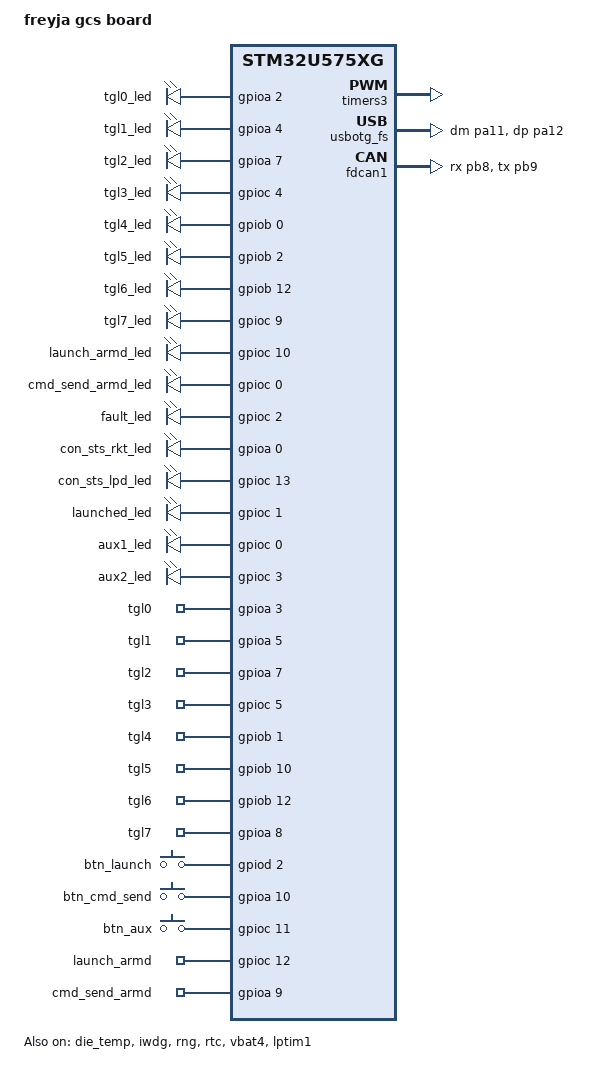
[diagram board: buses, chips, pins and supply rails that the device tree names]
/*
 * Copyright (c) 2021 Linaro Limited
 *
 * SPDX-License-Identifier: Apache-2.0
 */

/dts-v1/;
#include <st/u5/stm32u575Xg.dtsi>
#include <st/u5/stm32u575rgtx-pinctrl.dtsi>
#include <zephyr/dt-bindings/input/input-event-codes.h>

/ {
	model = "freyja gcs board";

	chosen {
		zephyr,sram = &sram0;
		zephyr,flash = &flash0;
		zephyr,canbus = &fdcan1;
        zephyr,console = &cdc_acm_uart1;
        zephyr,shell-uart = &cdc_acm_uart1;
	};

	leds: leds {
		compatible = "gpio-leds";

		tgl0_led: tgl0_led {
			gpios = <&gpioa 2 GPIO_ACTIVE_HIGH>;
		};
		tgl1_led: tgl1_led {
			gpios = <&gpioa 4 GPIO_ACTIVE_HIGH>;
		};
		tgl2_led: tgl2_led {
			gpios = <&gpioa 7 GPIO_ACTIVE_HIGH>;
		};
		tgl3_led: tgl3_led {
			gpios = <&gpioc 4 GPIO_ACTIVE_HIGH>;
		};
		tgl4_led: tgl4_led {
			gpios = <&gpiob 0 GPIO_ACTIVE_HIGH>;
		};
		tgl5_led: tgl5_led {
			gpios = <&gpiob 2 GPIO_ACTIVE_HIGH>;
		};
		tgl6_led: tgl6_led {
			gpios = <&gpiob 12 GPIO_ACTIVE_HIGH>;
		};
		tgl7_led: tgl7_led {
			gpios = <&gpioc 9 GPIO_ACTIVE_HIGH>;
		};

		launch_armd_led: launch_armd_led {
			gpios = <&gpioc 10 GPIO_ACTIVE_HIGH>;
		};
		cmd_send_armd_led: cmd_send_armd_led {
			gpios = <&gpioc 0 GPIO_ACTIVE_HIGH>;
		};
		fault_led: fault_led {
			gpios = <&gpioc 2 GPIO_ACTIVE_HIGH>;
		};
		con_sts_rkt_led: con_sts_rkt_led {
			gpios = <&gpioa 0 GPIO_ACTIVE_HIGH>;
		};
		con_sts_lpd_led: con_sts_lpd_led {
			gpios = <&gpioc 13 GPIO_ACTIVE_HIGH>;
		};
		launched_led: launched_led {
			gpios = <&gpioc 1 GPIO_ACTIVE_HIGH>;
		};
		aux1_led: aux1_led {
			gpios = <&gpioc 0 GPIO_ACTIVE_HIGH>;
		};
		aux2_led: aux2_led {
			gpios = <&gpioc 3 GPIO_ACTIVE_HIGH>;
		};
	};

	buttons: buttons {
		compatible = "gpio_keys";
		
		tgl0: tgl0 {
			gpios = <&gpioa 3 GPIO_ACTIVE_HIGH>;
		};
		tgl1: tgl1 {
			gpios = <&gpioa 5 GPIO_ACTIVE_HIGH>;
		};
		tgl2: tgl2 {
			gpios = <&gpioa 7 GPIO_ACTIVE_HIGH>;
		};
		tgl3: tgl3 {
			gpios = <&gpioc 5 GPIO_ACTIVE_HIGH>;
		};
		tgl4: tgl4 {
			gpios = <&gpiob 1 GPIO_ACTIVE_HIGH>;
		};
		tgl5: tgl5 {
			gpios = <&gpiob 10 GPIO_ACTIVE_HIGH>;
		};
		tgl6: tgl6 {
			gpios = <&gpiob 12 GPIO_ACTIVE_HIGH>;
		};
		tgl7: tgl7 {
			gpios = <&gpioa 8 GPIO_ACTIVE_HIGH>;
		};

		btn_launch: btn_launch {
			gpios = <&gpiod 2 GPIO_ACTIVE_HIGH>;
		};
		btn_cmd_send: btn_cmd_send {
			gpios = <&gpioa 10 GPIO_ACTIVE_HIGH>;
		};
		btn_aux: btn_aux {
			gpios = <&gpioc 11 GPIO_ACTIVE_HIGH>;
		};

		launch_armd: launch_armd {
			gpios = <&gpioc 12 GPIO_ACTIVE_HIGH>;
		};
		cmd_send_armd: cmd_send_armd {
			gpios = <&gpioa 9 GPIO_ACTIVE_HIGH>;
		};
	};
};

&die_temp {
	status = "okay";
};

&clk_hsi48 {
	status = "okay";
};

&clk_lse {
	status = "okay";
};

&clk_msis {
	status = "okay";
	msi-range = <4>;
	msi-pll-mode;
};

&pll1 {
	div-m = <1>;
	mul-n = <80>;
	div-q = <2>;
	div-r = <2>;
	clocks = <&clk_msis>;
	status = "okay";
};

&rcc {
	clocks = <&pll1>;
	clock-frequency = <DT_FREQ_M(160)>;
	ahb-prescaler = <1>;
	apb1-prescaler = <1>;
	apb2-prescaler = <1>;
	apb3-prescaler = <1>;
};

&timers3 {
	st,prescaler = <10000>;
	status = "okay";

	fan_pwm: pwm {
		pinctrl-0 = <&tim2_ch1_pa15>;
		pinctrl-names = "default";
		status = "okay";
	};
};

&iwdg {
	status = "okay";
};

&rng {
	status = "okay";
};

zephyr_udc0: &usbotg_fs {
	pinctrl-0 = <&usb_otg_fs_dm_pa11 &usb_otg_fs_dp_pa12>;
	pinctrl-names = "default";
	status = "okay";
};

&fdcan1 {
	clocks = <&rcc STM32_CLOCK_BUS_APB1_2 0x00000200>,
		 <&rcc STM32_SRC_PLL1_Q FDCAN1_SEL(1)>;
	pinctrl-0 = <&fdcan1_rx_pb8 &fdcan1_tx_pb9>;
	pinctrl-names = "default";
	status = "okay";
};

&rtc {
	clocks = <&rcc STM32_CLOCK(APB3, 21)>,
		 <&rcc STM32_SRC_LSE RTC_SEL(2)>;
	status = "okay";
};

&vbat4 {
	status = "okay";
};

stm32_lp_tick_source: &lptim1 {
	clocks = <&rcc STM32_CLOCK_BUS_APB3 0x00000800>,
		 <&rcc STM32_SRC_LSI LPTIM1_SEL(1)>;
	status = "okay";
};

&zephyr_udc0 {
    cdc_acm_uart0: cdc_acm_uart0 {
        compatible = "zephyr,cdc-acm-uart";
    };
	cdc_acm_uart1: cdc_acm_uart1 {
		compatible = "zephyr,cdc-acm-uart";
	};
};
